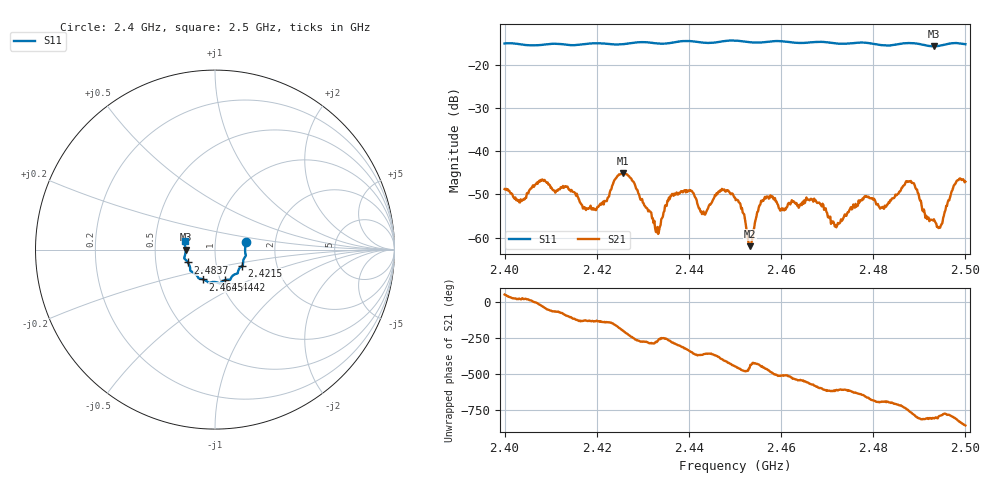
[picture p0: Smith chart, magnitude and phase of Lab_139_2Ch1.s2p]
# Hz S RI R 50
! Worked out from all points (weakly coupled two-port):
!   601 points, 2.4 GHz to 2.5 GHz, reference 50 ohm
!   highest |S21| = -45.06 dB at 2.4257 GHz (marker M1); lowest = -62.0 dB at 2.4533 GHz (marker M2)
!   lowest |S11| = -15.7 dB at 2.4932 GHz (marker M3), VSWR 1.39, Z = 35.9 - j0.0567 ohm
!   |S11| at or under -10 dB: start of sweep to end of sweep
!   S12 and S22 are empty: the file has one direction only
!   S11 on the Smith chart (normalised r, x): 2.4 GHz: 1.41, +0.12; 2.4215 GHz: 1.33, -0.25; 2.4442 GHz: 1.05, -0.37; 2.4645 GHz: 0.83, -0.29; 2.4837 GHz: 0.73, -0.11; 2.5 GHz: 0.71, +0.07
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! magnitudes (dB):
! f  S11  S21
! 2.4 GHz  -15.1  -48.8
! 2.4037 GHz  -15.3  -51.6
! 2.4083 GHz  -15.4  -46.7
! 2.4167 GHz  -15.3  -52.3
! 2.4215 GHz  -15.1  -52.3
! 2.4257 GHz  -15.3  -45.1
! 2.4333 GHz  -15.1  -59.2
! 2.4368 GHz  -14.8  -49.8
! 2.4442 GHz  -15.0  -53.2
! 2.45 GHz  -14.4  -50.8
! 2.4533 GHz  -14.8  -62.0
! 2.4565 GHz  -14.8  -50.6
! 2.4645 GHz  -15.0  -52.5
! 2.4667 GHz  -14.8  -51.2
! 2.472 GHz  -15.1  -57.6
! 2.4782 GHz  -14.9  -50.4
! 2.4833 GHz  -15.6  -51.8
! 2.4837 GHz  -15.5  -51.4
! 2.4883 GHz  -15.0  -47.4
! 2.4932 GHz  -15.7  -55.8
! 2.4945 GHz  -15.6  -57.7
! 2.5 GHz  -15.3  -47.1
